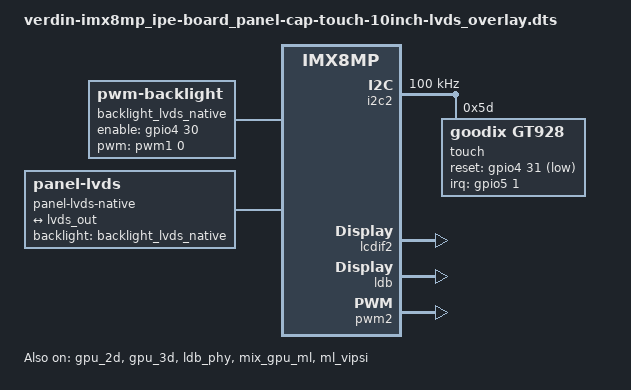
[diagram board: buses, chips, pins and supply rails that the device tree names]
// SPDX-License-Identifier: MIT
/*
 * Verdin iMX8MP overlay - Native LVDS Display
 * Display Model: AT-T101QIH-45CP 10.1" 1280x800 LVDS
 *
 * Touchscreen capacitive: Goodix GT928
 * Carrier Board: Ipê Carrier Board
 * Kernel 5.x (TorizonOS 6.x)
 * 
 * Witte Technology LTDA - https://wittetech.com/
 */

/dts-v1/;
/plugin/;

#include <dt-bindings/gpio/gpio.h>
#include <dt-bindings/interrupt-controller/irq.h>
#include <dt-bindings/pwm/pwm.h>
#include <dt-bindings/../../arch/arm64/boot/dts/freescale/imx8mp-pinfunc.h>

/ {
	compatible = "toradex,verdin-imx8mp";
};

&{/} {
	backlight_lvds_native: backlight-lvds-native {
		compatible = "pwm-backlight";
		pinctrl-names = "default";
		pinctrl-0 = <&pinctrl_i2s_2_d_out_dsi_1_bkl_en>;		
		brightness-levels = <0 45 63 88 119 158 203 255>;
		default-brightness-level = <4>;
		enable-gpios = <&gpio4 30 GPIO_ACTIVE_HIGH>;	/* Verdin GPIO4_IO30 (SODIMM 48) */
		pwms = <&pwm1 0 6666667 PWM_POLARITY_INVERTED>; /* Verdin PWM_1 (SODIMM 15) */
		status = "okay";
	};

	panel-lvds-native {
		compatible = "panel-lvds";
		backlight = <&backlight_lvds_native>;
		data-mapping = "vesa-24";
		height-mm = <136>;
		width-mm = <217>;

		panel-timing {
			clock-frequency = <68900000 71100000 73400000>;
			de-active = <1>;
			hactive = <1280 1280 1280>;
			hback-porch = <23 60 71>;
			hfront-porch = <23 60 71>;
			hsync-active = <0>;
			hsync-len = <15 40 47>;
			pixelclk-active = <1>; /* positive edge */
			vactive = <800 800 800>;
			vback-porch = <5 7 10>;
			vfront-porch = <5 7 10>;
			vsync-active = <0>;
			vsync-len = <6 9 12>;
		};

		port {
			panel_lvds_native_in: endpoint {
				remote-endpoint = <&lvds_out>;
			};
		};
	};
};

&gpu_2d {
	status = "okay";
};

&gpu_3d {
	status = "okay";
};

&i2c2 {
	#address-cells = <1>;
	#size-cells = <0>;
	status = "okay";
	clock-frequency = <100000>;
	
	touch@5d {
		compatible = "goodix,gt928";
		reg = <0x5d>;
		pinctrl-names = "default";
		pinctrl-0 = <&pinctrl_rst_int_gpios>;
		interrupt-parent = <&gpio5>; /* Verdin GPIO5_IO01 (SODIMM 46) */
		interrupts = <1 IRQ_TYPE_EDGE_FALLING>;
		reset-gpios = <&gpio4 31 GPIO_ACTIVE_LOW>; /* Verdin GPIO4_IO31 (SODIMM 44) */
		status = "okay";
	};

	touch2@14 {
		compatible = "goodix,gt928";
		reg = <0x14>;
		pinctrl-names = "default";
		pinctrl-0 = <&pinctrl_rst_int_gpios>;
		interrupt-parent = <&gpio5>; /* Verdin GPIO5_IO01 (SODIMM 46) */
		interrupts = <1 IRQ_TYPE_EDGE_FALLING>;
		reset-gpios = <&gpio4 31 GPIO_ACTIVE_LOW>; /* Verdin GPIO4_IO31 (SODIMM 44) */
		status = "disabled";
	};
};

&iomuxc {
	pinctrl_rst_int_gpios: gt928gpiosgrp {
		fsl,pins =
			<MX8MP_IOMUXC_SAI3_TXD__GPIO5_IO01 0x184>,	/* Verdin GPIO5_IO01 (SODIMM 46) */
			<MX8MP_IOMUXC_SAI3_TXFS__GPIO4_IO31 0x184>; /* Verdin GPIO4_IO31 (SODIMM 44) */
	};

	pinctrl_i2s_2_d_out_dsi_1_bkl_en: i2s2doutdsi1bklengrp {
		fsl,pins =
			<MX8MP_IOMUXC_SAI3_RXD__GPIO4_IO30		0x184>;	/* Verdin GPIO4_IO30 (SODIMM 48) */
	};
};

&lcdif2 {
	status = "okay";
};

&ldb {
	status = "okay";
};

&ldb_phy {
	status = "okay";
};

&lvds_out{
	remote-endpoint = <&panel_lvds_native_in>;
};

&mix_gpu_ml {
	status = "okay";
};

&ml_vipsi {
	status = "okay";
};

/* Verdin PWM_2 */
&pwm2 {
	status = "okay";
};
